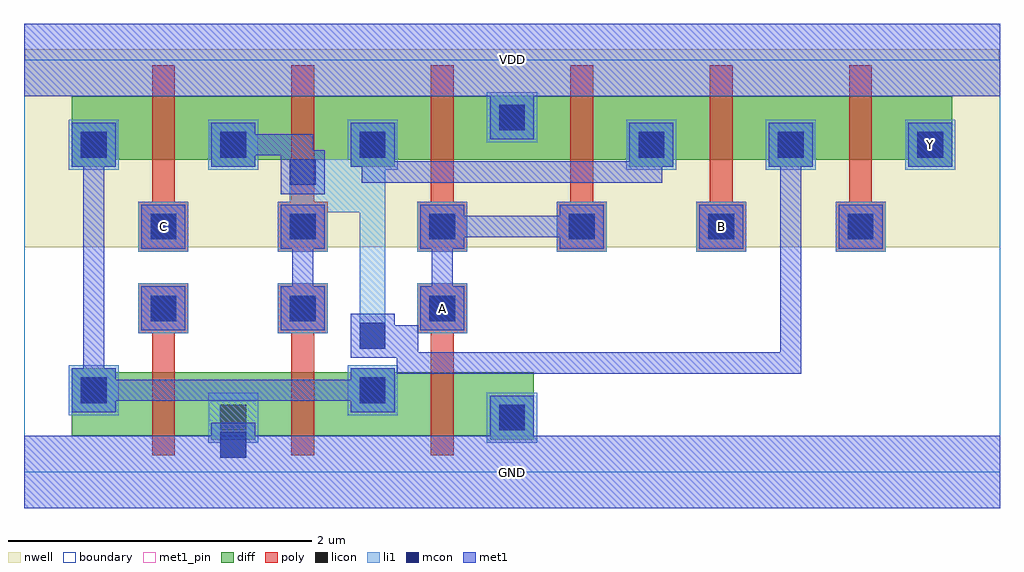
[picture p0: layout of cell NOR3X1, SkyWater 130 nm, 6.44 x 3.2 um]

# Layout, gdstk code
import gdstk
lib = gdstk.Library(unit=1e-6, precision=1e-09)
def R(c, l, rs):  # rectangles x0, y0, x1, y1
    for r in rs: c.add(gdstk.rectangle(r[:2], r[2:], *l))
def A(c, l, x, y, w, h, nx, ny, dx, dy):  # array of equal rectangles
    R(c, l, [(x+i*dx, y+j*dy, x+i*dx+w, y+j*dy+h) for i in range(nx) for j in range(ny)])
def P(c, l, *ps):  # polygons
    for p in ps: c.add(gdstk.Polygon(p, *l))
nwell = (64, 20)
diff = (65, 20)
poly = (66, 20)
licon = (66, 44)
li1 = (67, 20)
mcon = (67, 44)
met1_pin = (68, 16)
met1 = (68, 20)
boundary = (235, 4)

nor3x1 = lib.new_cell('NOR3X1')
P(nor3x1, nwell, [(0,1.485),(0,2.72),(0.005,2.72),(0.005,2.79),(6.435,2.79),(6.435,2.72),(6.44,2.72),(6.44,1.485)])
P(nor3x1, diff, [(1.235,0.215),(1.235,0.24),(0.315,0.24),(0.315,0.685),(0.605,0.685),(0.605,0.66),(2.155,0.66),(2.155,0.685),(2.445,0.685),(2.445,0.66),(3.365,0.66),(3.365,0.215),(3.075,0.215),(3.075,0.24),(1.525,0.24),(1.525,0.215)],
  [(0.315,2.015),(0.315,2.48),(3.075,2.48),(3.075,2.485),(3.365,2.485),(3.365,2.48),(6.125,2.48),(6.125,2.015),(5.835,2.015),(5.835,2.06),(5.205,2.06),(5.205,2.015),(4.915,2.015),(4.915,2.06),(4.285,2.06),(4.285,2.015),(3.995,2.015),(3.995,2.06),(2.445,2.06),(2.445,2.015),(2.155,2.015),(2.155,2.06),(1.525,2.06),(1.525,2.015),(1.235,2.015),(1.235,2.06),(0.605,2.06),(0.605,2.015)])
P(nor3x1, poly, [(0.845,0.11),(0.845,0.915),(0.755,0.915),(0.755,1.245),(1.085,1.245),(1.085,0.915),(0.995,0.915),(0.995,0.11)],
  [(1.765,0.11),(1.765,0.915),(1.675,0.915),(1.675,1.245),(2.005,1.245),(2.005,0.915),(1.915,0.915),(1.915,0.11)],
  [(2.685,0.11),(2.685,0.915),(2.595,0.915),(2.595,1.245),(2.925,1.245),(2.925,0.915),(2.835,0.915),(2.835,0.11)],
  [(0.755,1.455),(0.755,1.785),(0.845,1.785),(0.845,2.685),(0.995,2.685),(0.995,1.785),(1.085,1.785),(1.085,1.455)],
  [(1.675,1.455),(1.675,1.785),(1.765,1.785),(1.765,2.685),(1.915,2.685),(1.915,1.785),(2.005,1.785),(2.005,1.455)],
  [(2.595,1.455),(2.595,1.785),(2.685,1.785),(2.685,2.685),(2.835,2.685),(2.835,1.785),(2.925,1.785),(2.925,1.455)],
  [(3.515,1.455),(3.515,1.785),(3.605,1.785),(3.605,2.685),(3.755,2.685),(3.755,1.785),(3.845,1.785),(3.845,1.455)],
  [(4.435,1.455),(4.435,1.785),(4.525,1.785),(4.525,2.685),(4.675,2.685),(4.675,1.785),(4.765,1.785),(4.765,1.455)],
  [(5.355,1.455),(5.355,1.785),(5.445,1.785),(5.445,2.685),(5.595,2.685),(5.595,1.785),(5.685,1.785),(5.685,1.455)])
A(nor3x1, licon, 0.835, 0.995, 0.17, 0.17, 3, 1, 0.92, 0)
A(nor3x1, licon, 0.835, 1.535, 0.17, 0.17, 6, 1, 0.92, 0)
A(nor3x1, licon, 0.375, 2.075, 0.17, 0.17, 3, 1, 0.92, 0)
A(nor3x1, licon, 4.055, 2.075, 0.17, 0.17, 3, 1, 0.92, 0)
R(nor3x1, licon, [(1.295,0.275,1.465,0.445), (3.135,0.275,3.305,0.445), (0.375,0.455,0.545,0.625), (2.215,0.455,2.385,0.625), (3.135,2.255,3.305,2.425)])
A(nor3x1, li1, 0.755, 0.915, 0.33, 0.33, 3, 1, 0.92, 0)
A(nor3x1, li1, 2.595, 1.455, 0.33, 0.33, 4, 1, 0.92, 0)
A(nor3x1, li1, 3.975, 1.995, 0.33, 0.33, 3, 1, 0.92, 0)
R(nor3x1, li1, [(3.055,0.195,3.385,0.525), (0.295,0.375,0.625,0.705), (2.135,0.375,2.465,0.705), (0.755,1.455,1.085,1.785), (0.295,1.995,0.625,2.325), (1.215,1.995,1.545,2.325), (3.055,2.175,3.385,2.505)])
P(nor3x1, li1, [(1.295,0.095),(1.295,0.195),(1.215,0.195),(1.215,0.525),(1.545,0.525),(1.545,0.195),(1.465,0.195),(1.465,0.095)],
  [(2.215,0.815),(2.215,1.715),(2.005,1.715),(2.005,1.455),(1.675,1.455),(1.675,1.785),(1.755,1.785),(1.755,2.065),(2.135,2.065),(2.135,2.325),(2.465,2.325),(2.465,1.995),(2.385,1.995),(2.385,0.815)])
A(nor3x1, mcon, 0.835, 0.995, 0.17, 0.17, 3, 1, 0.92, 0)
A(nor3x1, mcon, 0.835, 1.535, 0.17, 0.17, 6, 1, 0.92, 0)
A(nor3x1, mcon, 0.375, 2.075, 0.17, 0.17, 3, 1, 0.92, 0)
A(nor3x1, mcon, 4.055, 2.075, 0.17, 0.17, 3, 1, 0.92, 0)
R(nor3x1, mcon, [(1.295,0.095,1.465,0.265), (3.135,0.275,3.305,0.445), (0.375,0.455,0.545,0.625), (2.215,0.455,2.385,0.625), (2.215,0.815,2.385,0.985), (1.755,1.895,1.925,2.065), (3.135,2.255,3.305,2.425)])
R(nor3x1, met1_pin, [(0,-0.24,6.44,0.24), (0.775,1.475,1.065,1.765), (4.455,1.475,4.745,1.765), (5.835,2.015,6.125,2.305), (0,2.48,6.44,2.96)])
P(nor3x1, met1_pin, [(2.615,0.935),(2.615,1.225),(2.69,1.225),(2.69,1.475),(2.615,1.475),(2.615,1.765),(2.905,1.765),(2.905,1.69),(3.535,1.69),(3.535,1.765),(3.825,1.765),(3.825,1.475),(3.535,1.475),(3.535,1.55),(2.905,1.55),(2.905,1.475),(2.83,1.475),(2.83,1.225),(2.905,1.225),(2.905,0.935)])
R(nor3x1, met1, [(0.775,0.935,1.065,1.225), (0.775,1.475,1.065,1.765), (4.455,1.475,4.745,1.765), (5.375,1.475,5.665,1.765), (5.835,2.015,6.125,2.305)])
P(nor3x1, met1, [(0,-0.24),(0,0.24),(1.235,0.24),(1.235,0.325),(1.525,0.325),(1.525,0.24),(3.075,0.24),(3.075,0.505),(3.365,0.505),(3.365,0.24),(6.44,0.24),(6.44,-0.24)],
  [(1.695,0.935),(1.695,1.225),(1.77,1.225),(1.77,1.475),(1.695,1.475),(1.695,1.765),(1.985,1.765),(1.985,1.475),(1.91,1.475),(1.91,1.225),(1.985,1.225),(1.985,0.935)],
  [(2.615,0.935),(2.615,1.225),(2.69,1.225),(2.69,1.475),(2.615,1.475),(2.615,1.765),(2.905,1.765),(2.905,1.69),(3.535,1.69),(3.535,1.765),(3.825,1.765),(3.825,1.475),(3.535,1.475),(3.535,1.55),(2.905,1.55),(2.905,1.475),(2.83,1.475),(2.83,1.225),(2.905,1.225),(2.905,0.935)],
  [(0.315,0.395),(0.315,0.685),(0.39,0.685),(0.39,2.015),(0.315,2.015),(0.315,2.305),(0.605,2.305),(0.605,2.015),(0.53,2.015),(0.53,0.685),(0.605,0.685),(0.605,0.61),(2.155,0.61),(2.155,0.685),(2.445,0.685),(2.445,0.395),(2.155,0.395),(2.155,0.47),(0.605,0.47),(0.605,0.395)],
  [(1.695,1.835),(1.695,2.09),(1.525,2.09),(1.525,2.015),(1.235,2.015),(1.235,2.305),(1.525,2.305),(1.525,2.23),(1.91,2.23),(1.91,2.125),(1.985,2.125),(1.985,1.835)],
  [(2.23,1.91),(2.23,2.015),(2.155,2.015),(2.155,2.305),(2.445,2.305),(2.445,2.05),(3.995,2.05),(3.995,2.305),(4.285,2.305),(4.285,2.015),(4.21,2.015),(4.21,1.91)],
  [(2.46,0.65),(2.46,0.755),(2.155,0.755),(2.155,1.045),(2.445,1.045),(2.445,0.97),(2.6,0.97),(2.6,0.79),(4.99,0.79),(4.99,2.015),(4.915,2.015),(4.915,2.305),(5.205,2.305),(5.205,2.015),(5.13,2.015),(5.13,0.65)],
  [(3.075,2.195),(3.075,2.48),(0,2.48),(0,2.96),(6.44,2.96),(6.44,2.48),(3.365,2.48),(3.365,2.195)])
R(nor3x1, boundary, [(0,0,6.44,2.72)])
nor3x1.add(gdstk.Label('Y', (5.98,2.16), layer=68, texttype=5))
nor3x1.add(gdstk.Label('B', (4.6,1.62), layer=68, texttype=5))
nor3x1.add(gdstk.Label('C', (0.92,1.62), layer=68, texttype=5))
nor3x1.add(gdstk.Label('A', (2.76,1.08), layer=68, texttype=5))
nor3x1.add(gdstk.Label('GND', (3.22,0), layer=68, texttype=5))
nor3x1.add(gdstk.Label('VDD', (3.22,2.72), layer=68, texttype=5))

lib.write_gds('NOR3X1.gds')
